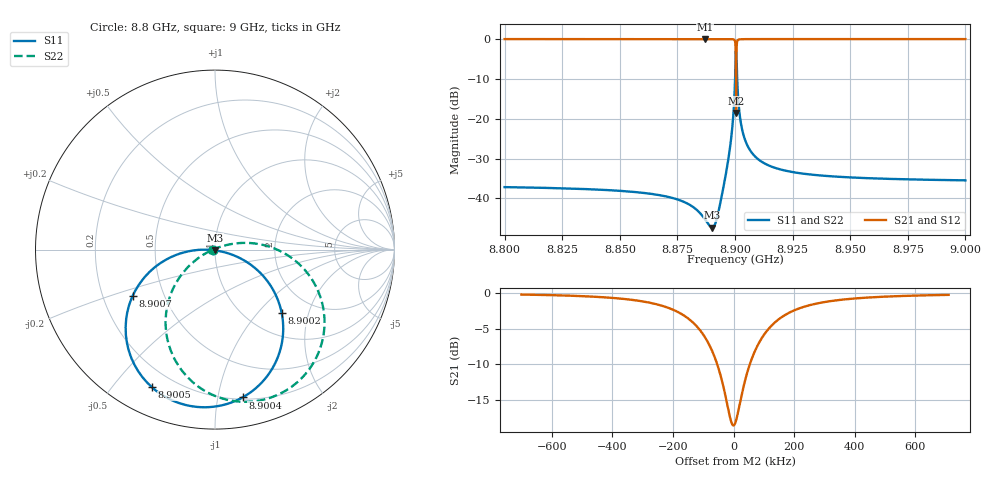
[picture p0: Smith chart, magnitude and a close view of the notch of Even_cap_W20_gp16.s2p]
! Sonnet Data File
! From: emgraph Version : 16.52
! From Project: Resonator2_cp_varyW
! Data is De-embedded
! Data File Written: 10/07/2017 09:25:24
!< HDATE 10/06/2017 17:18:21
!< MDATE 10/06/2017 17:18:21
!< PARAMS
!< gap = 16.0
!< Length = 400.0
!< Pwid1 = 2000.0
!< Pwid2 = 2000.0
!< Air_gap = 12.0
!< Width = 20.0
!< END PARAMS
# GHZ S MA R 51.80000
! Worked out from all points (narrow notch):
!   1595 points, 8.8 GHz to 9 GHz, reference 51.8 ohm
!   highest |S21| = 0.00 dB at 8.887 GHz (marker M1); lowest = -18.5 dB at 8.9005 GHz (marker M2)
!   notch at M2: 18.5 dB deep, 120 kHz wide at half that depth
!   lowest |S11| = -47.3 dB at 8.89 GHz (marker M3), VSWR 1.01, Z = 51.7 - j0.44 ohm
!   |S11| at or under -10 dB: start of sweep to 8.9 GHz; 8.901 GHz to end of sweep
!   |S22| runs from -47.4 to -1.1 dB; largest |S21 - S12| = 0
!   S11 on the Smith chart (normalised r, x): 8.8 GHz: 0.97, -0.01; 8.9002 GHz: 1.42, -1.36; 8.9004 GHz: 0.21, -1.18; 8.9005 GHz: 0.12, -0.64; 8.9007 GHz: 0.33, -0.23; 9 GHz: 0.97, -0.00
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8.8  0.01388 -167.9  0.9999 -80.7  0.9999 -80.7  0.01388 -173.5
!< P1 F=8.8 Eeff=(6.44629866 -2.9719e-5) Z0=(50.907433 1.17455e-4) R=0.0 C=0.0
!< P2 F=8.8 Eeff=(6.44629866 -2.9719e-5) Z0=(50.907433 1.17455e-4) R=0.0 C=0.0
8.8334  0.01317 -167.2  0.9999 -81.0  0.9999 -81.0  0.01317 -174.9
8.8668  0.01106 -163.8  0.9999 -81.5  0.9999 -81.5  0.01106 -179.1
8.887  0.005462 -135.3  1 -82.0  1 -82.0  0.005437 151.4
8.89  0.004302 -99.0  1 -82.3  1 -82.3  0.004249 114.5
8.892318  0.005908 -54.5  0.9999 -82.5  0.9999 -82.5  0.005844 68.9
8.896785  0.02714 -18.4  0.9994 -83.9  0.9994 -83.9  0.02707 29.8
8.899  0.08879 -16.1  0.9946 -87.4  0.9946 -87.4  0.08865 19.4
8.9  0.29 -27.6  0.9441 -99.2  0.9441 -99.2  0.2896 4.1
8.90024  0.5137 -43.6  0.8139 -113.1  0.8139 -113.1  0.5131 -12.8
8.900352  0.7132 -61.8  0.5937 -127.0  0.5937 -127.0  0.7124 -31.3
8.90042  0.8377 -79.4  0.3303 -134.2  0.3303 -134.2  0.8367 -49.1
8.900477  0.8823 -97.5  0.1182 -81.6  0.1182 -81.6  0.8813 -67.4
8.900531  0.8436 -114.6  0.3172 -30.3  0.3172 -30.3  0.8426 -84.7
8.900603  0.7169 -133.1  0.5935 -37.3  0.5935 -37.3  0.7161 -103.4
8.900716  0.5261 -150.7  0.8079 -50.8  0.8079 -50.8  0.5255 -121.3
8.901204  0.2187 -172.2  0.9701 -69.8  0.9701 -69.8  0.2184 -144.3
8.9024  0.0941 -178.9  0.9947 -77.0  0.9947 -77.0  0.09402 -154.0
8.906808  0.03919 -178.9  0.9991 -80.2  0.9991 -80.2  0.03917 -161.3
8.9334  0.01989 -174.2  0.9998 -81.5  0.9998 -81.5  0.01989 -168.9
8.9668  0.01761 -173.0  0.9998 -82.0  0.9998 -82.0  0.01761 -171.0
9  0.01687 -172.7  0.9999 -82.3  0.9999 -82.3  0.01687 -172.0
